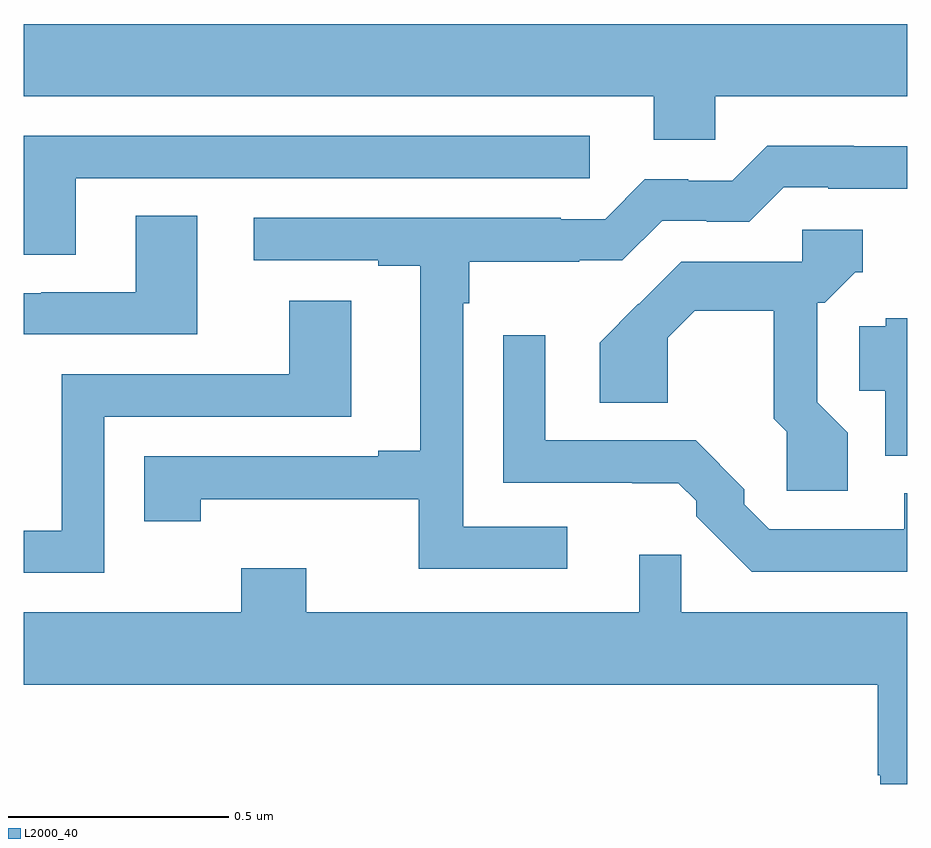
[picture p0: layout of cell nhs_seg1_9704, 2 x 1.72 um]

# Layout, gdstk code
import gdstk
lib = gdstk.Library(unit=1e-6, precision=1e-09)
def P(c, l, *ps):  # polygons
    for p in ps: c.add(gdstk.Polygon(p, *l))
L2000_40 = (2000, 40)

nhs_seg1_9704 = lib.new_cell('nhs_seg1_9704')
P(nhs_seg1_9704, L2000_40, [(233.565,527.756),(234,527.756),(234,527.92),(232,527.92),(232,527.756),(233.426,527.756),(233.426,527.658),(233.565,527.658)],
  [(232.117,527.571),(233.281,527.571),(233.281,527.667),(232,527.667),(232,527.398),(232.117,527.398)],
  [(233.23,526.782),(232.995,526.782),(232.995,527.288),(233.008,527.288),(233.008,527.382),(233.258,527.382),(233.258,527.385),(233.355,527.385),(233.445,527.475),(233.546,527.475),(233.546,527.472),(233.643,527.472),(233.721,527.55),(233.821,527.55),(233.821,527.547),(234,527.547),(234,527.643),(233.879,527.643),(233.879,527.644),(233.683,527.644),(233.604,527.565),(233.504,527.565),(233.504,527.568),(233.406,527.568),(233.316,527.478),(233.216,527.478),(233.216,527.481),(232.521,527.481),(232.521,527.385),(232.802,527.385),(232.802,527.373),(232.898,527.373),(232.898,526.954),(232.802,526.954),(232.802,526.941),(232.272,526.941),(232.272,526.794),(232.4,526.794),(232.4,526.844),(232.894,526.844),(232.894,526.686),(233.23,526.686)],
  [(232.393,527.486),(232.253,527.486),(232.253,527.313),(232.039,527.313),(232.039,527.31),(232,527.31),(232,527.217),(232.393,527.217)],
  [(233.866,526.994),(233.796,527.064),(233.796,527.289),(233.814,527.289),(233.883,527.358),(233.899,527.358),(233.899,527.454),(233.763,527.454),(233.763,527.382),(233.489,527.382),(233.392,527.285),(233.391,527.286),(233.304,527.198),(233.304,527.062),(233.458,527.062),(233.458,527.21),(233.519,527.271),(233.698,527.271),(233.698,527.026),(233.727,526.997),(233.727,526.863),(233.866,526.863)],
  [(232.182,527.031),(232.741,527.031),(232.741,527.293),(232.601,527.293),(232.601,527.127),(232.086,527.127),(232.086,526.773),(232,526.773),(232,526.677),(232.182,526.677)],
  [(234,527.254),(233.952,527.254),(233.952,527.235),(233.892,527.235),(233.892,527.09),(233.951,527.09),(233.951,526.942),(234,526.942)],
  [(234,526.857),(233.994,526.857),(233.994,526.776),(233.688,526.776),(233.631,526.833),(233.631,526.867),(233.521,526.977),(233.181,526.977),(233.181,527.215),(233.085,527.215),(233.085,526.881),(233.378,526.881),(233.378,526.88),(233.482,526.88),(233.523,526.84),(233.523,526.805),(233.648,526.68),(234,526.68)],
  [(234,526.588),(233.489,526.588),(233.489,526.718),(233.393,526.718),(233.393,526.588),(232.639,526.588),(232.639,526.687),(232.492,526.687),(232.492,526.588),(232,526.588),(232,526.424),(233.933,526.424),(233.933,526.219),(233.939,526.219),(233.939,526.199),(234,526.199)])

lib.write_gds('nhs_seg1_9704.gds')
